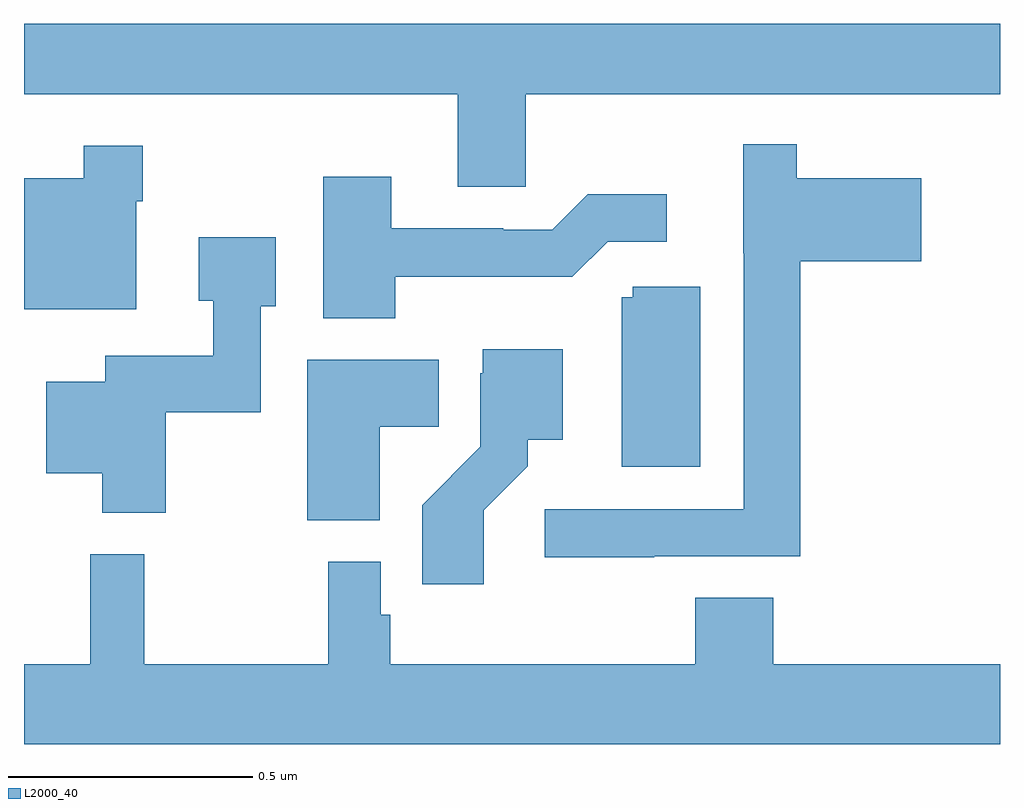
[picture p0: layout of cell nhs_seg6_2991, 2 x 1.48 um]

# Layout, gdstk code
import gdstk
lib = gdstk.Library(unit=1e-6, precision=1e-09)
def P(c, l, *ps):  # polygons
    for p in ps: c.add(gdstk.Polygon(p, *l))
L2000_40 = (2000, 40)

nhs_seg6_2991 = lib.new_cell('nhs_seg6_2991')
P(nhs_seg6_2991, L2000_40, [(152.028,927.356),(153,927.356),(153,927.5),(151,927.5),(151,927.356),(151.889,927.356),(151.889,927.166),(152.028,927.166)],
  [(152.291,926.409),(152.591,926.409),(152.591,927.014),(152.839,927.014),(152.839,927.184),(152.584,927.184),(152.584,927.253),(152.474,927.253),(152.474,927.03),(152.475,927.03),(152.475,926.505),(152.067,926.505),(152.067,926.407),(152.291,926.407)],
  [(151.23,927.137),(151.243,927.137),(151.243,927.25),(151.122,927.25),(151.122,927.184),(151,927.184),(151,926.915),(151.23,926.915)],
  [(151.761,926.982),(152.123,926.982),(152.196,927.054),(152.317,927.054),(152.317,927.151),(152.155,927.151),(152.082,927.078),(151.982,927.078),(151.982,927.081),(151.753,927.081),(151.753,927.187),(151.613,927.187),(151.613,926.897),(151.761,926.897)],
  [(151.29,926.704),(151.485,926.704),(151.485,926.921),(151.516,926.921),(151.516,927.063),(151.358,927.063),(151.358,926.933),(151.388,926.933),(151.388,926.82),(151.166,926.82),(151.166,926.767),(151.046,926.767),(151.046,926.579),(151.16,926.579),(151.16,926.498),(151.29,926.498)],
  [(152.386,926.961),(152.247,926.961),(152.247,926.94),(152.225,926.94),(152.225,926.592),(152.386,926.592)],
  [(151.942,926.503),(152.032,926.593),(152.032,926.648),(152.104,926.648),(152.104,926.833),(151.94,926.833),(151.94,926.784),(151.935,926.784),(151.935,926.633),(151.816,926.514),(151.816,926.352),(151.942,926.352)],
  [(151.729,926.674),(151.85,926.674),(151.85,926.812),(151.58,926.812),(151.58,926.483),(151.729,926.483)],
  [(151.731,926.289),(151.731,926.398),(151.623,926.398),(151.623,926.188),(151.246,926.188),(151.246,926.413),(151.136,926.413),(151.136,926.188),(151,926.188),(151,926.024),(153,926.024),(153,926.188),(152.535,926.188),(152.535,926.324),(152.375,926.324),(152.375,926.188),(151.751,926.188),(151.751,926.289)])

lib.write_gds('nhs_seg6_2991.gds')
